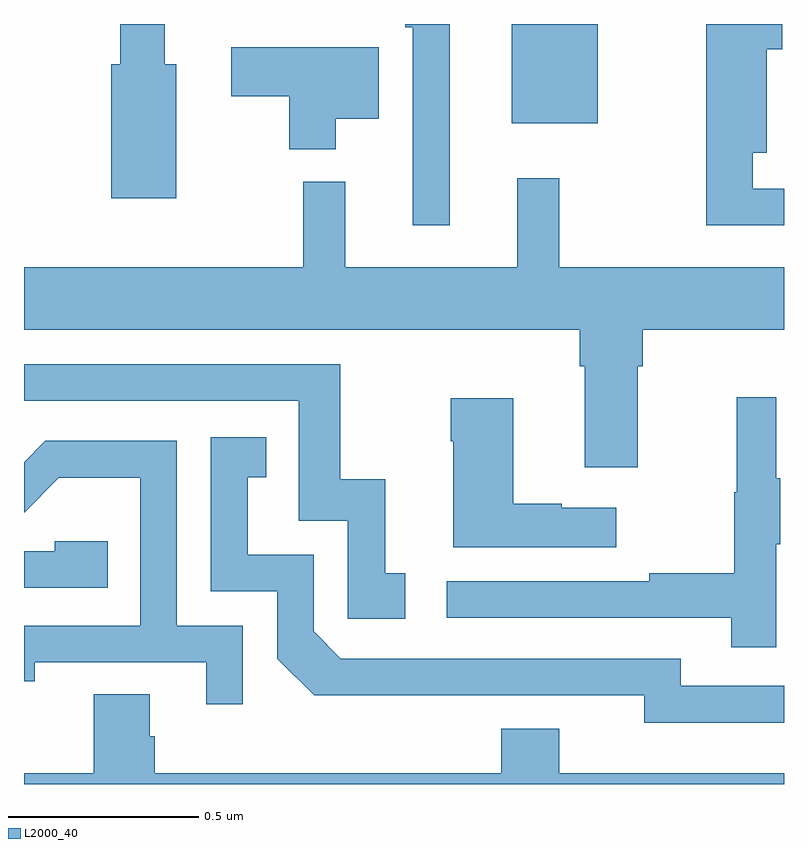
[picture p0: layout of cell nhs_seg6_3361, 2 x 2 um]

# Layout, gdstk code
import gdstk
lib = gdstk.Library(unit=1e-6, precision=1e-09)
def R(c, l, rs):  # rectangles x0, y0, x1, y1
    for r in rs: c.add(gdstk.rectangle(r[:2], r[2:], *l))
def P(c, l, *ps):  # polygons
    for p in ps: c.add(gdstk.Polygon(p, *l))
L2000_40 = (2000, 40)

nhs_seg6_3361 = lib.new_cell('nhs_seg6_3361')
R(nhs_seg6_3361, L2000_40, [(157.283,921.239,157.51,921.5)])
P(nhs_seg6_3361, L2000_40, [(158,921.066),(157.918,921.066),(157.918,921.161),(157.954,921.161),(157.954,921.434),(157.996,921.434),(157.996,921.5),(157.796,921.5),(157.796,920.97),(158,920.97)],
  [(156.4,921.394),(156.37,921.394),(156.37,921.5),(156.253,921.5),(156.253,921.394),(156.23,921.394),(156.23,921.042),(156.4,921.042)],
  [(157.12,921.5),(157.003,921.5),(157.003,921.491),(157.023,921.491),(157.023,920.97),(157.12,920.97)],
  [(156.82,921.251),(156.934,921.251),(156.934,921.439),(156.546,921.439),(156.546,921.31),(156.698,921.31),(156.698,921.17),(156.82,921.17)],
  [(157.615,920.6),(157.628,920.6),(157.628,920.696),(158,920.696),(158,920.86),(157.408,920.86),(157.408,921.094),(157.298,921.094),(157.298,920.86),(156.845,920.86),(156.845,921.085),(156.735,921.085),(156.735,920.86),(156,920.86),(156,920.696),(157.463,920.696),(157.463,920.6),(157.475,920.6),(157.475,920.334),(157.615,920.334)],
  [(157.003,920.055),(156.95,920.055),(156.95,920.302),(156.832,920.302),(156.832,920.604),(156,920.604),(156,920.508),(156.723,920.508),(156.723,920.193),(156.852,920.193),(156.852,919.935),(157.003,919.935)],
  [(157.979,920.131),(157.99,920.131),(157.99,920.305),(157.979,920.305),(157.979,920.518),(157.876,920.518),(157.876,920.268),(157.869,920.268),(157.869,920.054),(157.645,920.054),(157.645,920.034),(157.113,920.034),(157.113,919.938),(157.861,919.938),(157.861,919.86),(157.979,919.86)],
  [(157.558,920.227),(157.415,920.227),(157.415,920.237),(157.288,920.237),(157.288,920.515),(157.123,920.515),(157.123,920.402),(157.13,920.402),(157.13,920.123),(157.558,920.123)],
  [(158,919.758),(157.728,919.758),(157.728,919.83),(156.834,919.83),(156.762,919.902),(156.762,920.103),(156.589,920.103),(156.589,920.307),(156.638,920.307),(156.638,920.413),(156.492,920.413),(156.492,920.007),(156.666,920.007),(156.666,919.83),(156.764,919.733),(157.172,919.733),(157.172,919.734),(157.632,919.734),(157.632,919.661),(158,919.661)],
  [(156.576,919.917),(156.402,919.917),(156.402,920.403),(156.056,920.403),(156,920.347),(156,920.214),(156.092,920.306),(156.306,920.306),(156.306,919.917),(156,919.917),(156,919.77),(156.028,919.77),(156.028,919.821),(156.479,919.821),(156.479,919.71),(156.576,919.71)],
  [(156.221,920.139),(156.081,920.139),(156.081,920.112),(156,920.112),(156,920.016),(156.221,920.016)],
  [(158,919.528),(157.408,919.528),(157.408,919.645),(157.256,919.645),(157.256,919.528),(156.344,919.528),(156.344,919.626),(156.331,919.626),(156.331,919.736),(156.184,919.736),(156.184,919.528),(156,919.528),(156,919.5),(158,919.5)])

lib.write_gds('nhs_seg6_3361.gds')
